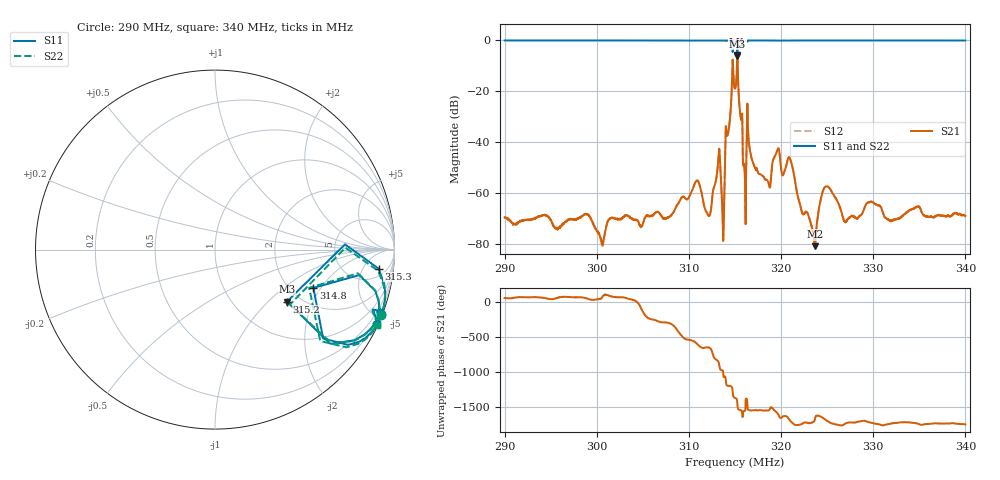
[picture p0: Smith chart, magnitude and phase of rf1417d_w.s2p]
!HP8753
# HZ S RI R 50
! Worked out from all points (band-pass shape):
!   1601 points, 290 MHz to 340 MHz, reference 50 ohm
!   highest |S21| = -5.61 dB at 315.2 MHz (marker M1); lowest = -80.9 dB at 323.7 MHz (marker M2)
!   |S21| within 3 dB of the highest: 314.7392 MHz to 314.7635 MHz (24.32 kHz wide, 0.00773 % of centre); 315.2249 MHz to 315.2875 MHz (62.64 kHz wide, 0.0199 % of centre)
!   lowest |S11| = -6.1 dB at 315.2 MHz (marker M3), VSWR 2.96, Z = 85.3 - j65.5 ohm
!   |S11| at or under -10 dB: nowhere
!   |S22| runs from -5.7 to 0.0 dB; largest |S21 - S12| = 0.0077
!   S11 on the Smith chart (normalised r, x): 290 MHz: 0.07, -5.34; 314.8 MHz: 2.62, -1.71; 315.2 MHz: 1.71, -1.31; 315.3 MHz: 8, -11; 340 MHz: 0.07, -4.59
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2.9e8  0.9276 -0.3602  0.000176 0.000283  0.000172 0.000288  0.9261 -0.3667
2.983437e8  0.9235 -0.3712  0.000126 0.000326  0.000133 0.000316  0.9221 -0.3781
3.005625e8  0.922 -0.374  4.93e-05 8.67e-05  4.72e-05 8.9e-05  0.9208 -0.381
3.066875e8  0.9185 -0.3826  4.84e-05 0.000416  3.75e-05 0.000415  0.9172 -0.3897
3.10875e8  0.9137 -0.3896  -0.000937 0.00149  -0.000953 0.0015  0.9123 -0.3971
3.121563e8  0.9128 -0.3954  0.000122 0.000334  0.000121 0.000339  0.9111 -0.4031
3.132188e8  0.905 -0.4051  -0.00418 -0.00341  -0.00419 -0.00344  0.9031 -0.4127
3.136563e8  0.9058 -0.4075  -6.72e-05 0.000324  -7.32e-05 0.000328  0.9038 -0.4156
3.1475e8  0.5484 -0.2131  -0.358 0.2134  -0.3551 0.2169  0.5247 -0.213
3.15e8  0.9005 -0.3901  0.0436 0.1042  0.0426 0.1045  0.9008 -0.3929
3.1525e8  0.4012 -0.2896  0.5239 -0.0215  0.5252 -0.0291  0.4179 -0.3061
3.153125e8  0.9111 -0.1059  0.0292 -0.2327  0.0296 -0.23  0.9101 -0.1193
3.160313e8  0.9271 -0.3605  -0.00135 -0.00255  -0.00132 -0.00256  0.9256 -0.3678
3.165e8  0.9256 -0.3639  -0.00296 -0.0097  -0.00286 -0.00969  0.9238 -0.3713
3.185938e8  0.9148 -0.3866  -0.000637 -0.00152  -0.000608 -0.00153  0.913 -0.3938
3.209375e8  0.913 -0.3835  -0.00156 0.00462  -0.0016 0.00461  0.9116 -0.3916
3.233437e8  0.9136 -0.3921  6.59e-05 0.000199  6.54e-05 0.000202  0.9119 -0.3998
3.236875e8  0.9134 -0.3924  -6.34e-05 6.42e-05  -6.59e-05 6.4e-05  0.9117 -0.4002
3.249375e8  0.9127 -0.3937  -0.000299 0.00132  -0.000314 0.00132  0.9108 -0.4016
3.269687e8  0.9119 -0.3972  0.000143 0.000229  0.00014 0.000237  0.9102 -0.4053
3.316875e8  0.9089 -0.403  0.000182 0.000227  0.000191 0.000236  0.9073 -0.4117
3.4e8  0.9036 -0.4129  0.000246 0.000251  0.000247 0.000263  0.9017 -0.4218
